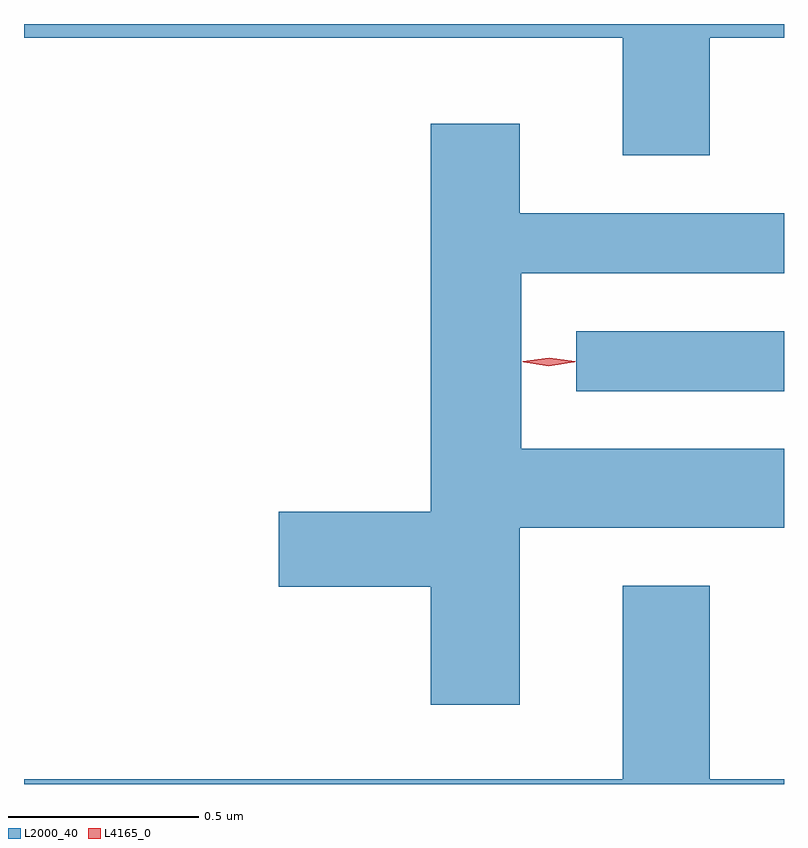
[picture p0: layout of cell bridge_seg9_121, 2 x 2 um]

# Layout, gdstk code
import gdstk
lib = gdstk.Library(unit=1e-6, precision=1e-09)
def R(c, l, rs):  # rectangles x0, y0, x1, y1
    for r in rs: c.add(gdstk.rectangle(r[:2], r[2:], *l))
def P(c, l, *ps):  # polygons
    for p in ps: c.add(gdstk.Polygon(p, *l))
L2000_40 = (2000, 40)
L4165_0 = (4165, 0)

bridge_seg9_121 = lib.new_cell('bridge_seg9_121')
R(bridge_seg9_121, L2000_40, [(1800.758,1964.246,1801.305,1964.404)])
P(bridge_seg9_121, L2000_40, [(1801.109,1965.176),(1801.305,1965.176),(1801.305,1965.212),(1799.305,1965.212),(1799.305,1965.176),(1800.881,1965.176),(1800.881,1964.866),(1801.109,1964.866)],
  [(1800.609,1963.886),(1801.305,1963.886),(1801.305,1964.094),(1800.614,1964.094),(1800.614,1964.556),(1801.305,1964.556),(1801.305,1964.714),(1800.609,1964.714),(1800.609,1964.949),(1800.376,1964.949),(1800.376,1963.929),(1799.976,1963.929),(1799.976,1963.731),(1800.376,1963.731),(1800.376,1963.421),(1800.609,1963.421)],
  [(1801.305,1963.224),(1801.109,1963.224),(1801.109,1963.734),(1800.881,1963.734),(1800.881,1963.224),(1799.305,1963.224),(1799.305,1963.212),(1801.305,1963.212)])
P(bridge_seg9_121, L4165_0, [(1800.687,1964.314),(1800.618,1964.323),(1800.617,1964.324),(1800.618,1964.324),(1800.687,1964.334),(1800.756,1964.324),(1800.756,1964.324),(1800.756,1964.323)],
  [(1800.686,1964.312),(1800.62,1964.322),(1800.62,1964.322),(1800.62,1964.323),(1800.686,1964.332),(1800.752,1964.323),(1800.753,1964.322),(1800.752,1964.322)])

lib.write_gds('bridge_seg9_121.gds')
